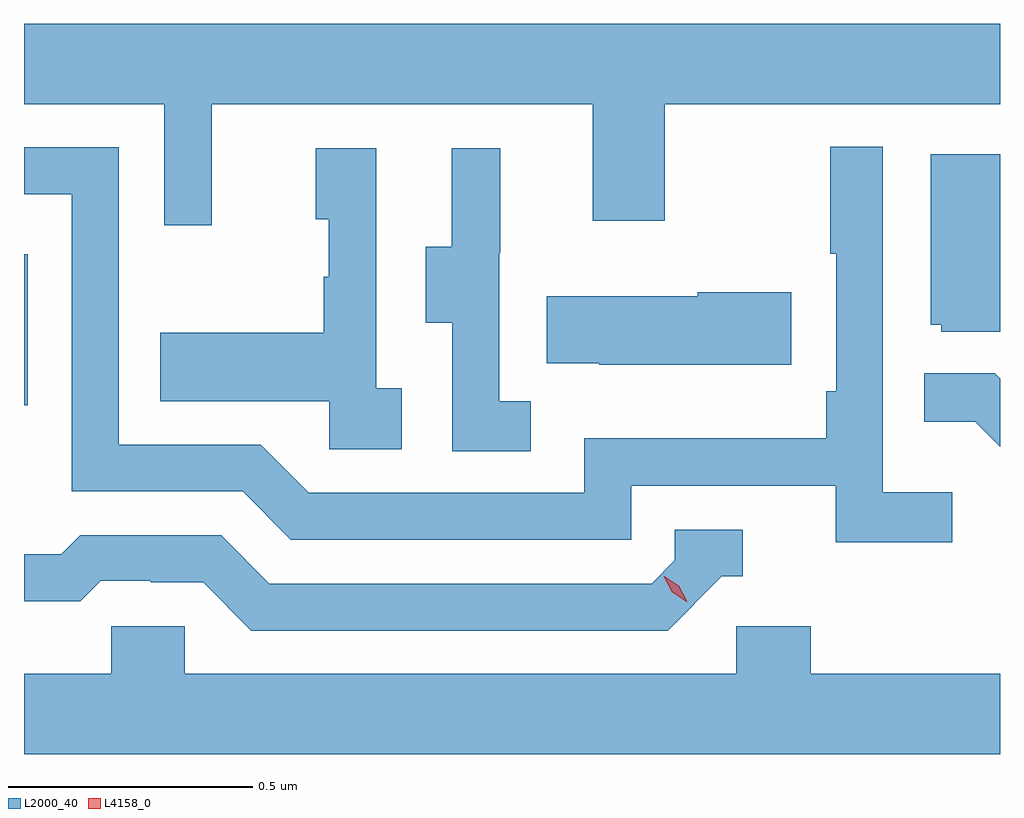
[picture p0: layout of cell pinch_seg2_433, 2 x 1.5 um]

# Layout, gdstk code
import gdstk
lib = gdstk.Library(unit=1e-6, precision=1e-09)
def R(c, l, rs):  # rectangles x0, y0, x1, y1
    for r in rs: c.add(gdstk.rectangle(r[:2], r[2:], *l))
def P(c, l, *ps):  # polygons
    for p in ps: c.add(gdstk.Polygon(p, *l))
L2000_40 = (2000, 40)
L4158_0 = (4158, 0)

pinch_seg2_433 = lib.new_cell('pinch_seg2_433')
R(pinch_seg2_433, L2000_40, [(949.366,613.719,949.374,614.028)])
P(pinch_seg2_433, L2000_40, [(949.751,614.336),(950.531,614.336),(950.531,614.097),(950.679,614.097),(950.679,614.336),(951.366,614.336),(951.366,614.5),(949.366,614.5),(949.366,614.336),(949.653,614.336),(949.653,614.088),(949.751,614.088)],
  [(951.268,613.54),(951.126,613.54),(951.126,614.248),(951.018,614.248),(951.018,614.029),(951.03,614.029),(951.03,613.747),(951.01,613.747),(951.01,613.651),(950.514,613.651),(950.514,613.539),(949.95,613.539),(949.851,613.638),(949.56,613.638),(949.56,614.247),(949.366,614.247),(949.366,614.151),(949.464,614.151),(949.464,613.542),(949.814,613.542),(949.913,613.443),(950.61,613.443),(950.61,613.554),(951.029,613.554),(951.029,613.438),(951.268,613.438)],
  [(950.14,613.754),(950.088,613.754),(950.088,614.245),(949.964,614.245),(949.964,614.1),(949.99,614.1),(949.99,613.982),(949.98,613.982),(949.98,613.867),(949.645,613.867),(949.645,613.727),(949.992,613.727),(949.992,613.629),(950.14,613.629)],
  [(950.404,613.727),(950.34,613.727),(950.34,614.031),(950.342,614.031),(950.342,614.245),(950.243,614.245),(950.243,614.043),(950.189,614.043),(950.189,613.888),(950.244,613.888),(950.244,613.624),(950.404,613.624)],
  [(951.366,614.233),(951.224,614.233),(951.224,613.884),(951.246,613.884),(951.246,613.869),(951.366,613.869)],
  [(950.938,613.95),(950.747,613.95),(950.747,613.942),(950.437,613.942),(950.437,613.805),(950.545,613.805),(950.545,613.802),(950.938,613.802)],
  [(951.366,613.773),(951.355,613.784),(951.211,613.784),(951.211,613.685),(951.315,613.685),(951.366,613.634)],
  [(950.796,613.368),(950.839,613.368),(950.839,613.464),(950.7,613.464),(950.7,613.401),(950.652,613.353),(949.869,613.353),(949.77,613.452),(949.481,613.452),(949.442,613.413),(949.366,613.413),(949.366,613.317),(949.481,613.317),(949.523,613.359),(949.626,613.359),(949.626,613.356),(949.733,613.356),(949.832,613.257),(950.685,613.257)],
  [(951.366,613.168),(950.978,613.168),(950.978,613.266),(950.826,613.266),(950.826,613.168),(949.695,613.168),(949.695,613.266),(949.545,613.266),(949.545,613.168),(949.366,613.168),(949.366,613.004),(951.366,613.004)])
P(pinch_seg2_433, L4158_0, [(950.724,613.316),(950.694,613.335),(950.677,613.368),(950.677,613.368),(950.678,613.368),(950.708,613.349),(950.725,613.316),(950.725,613.316)])

lib.write_gds('pinch_seg2_433.gds')
